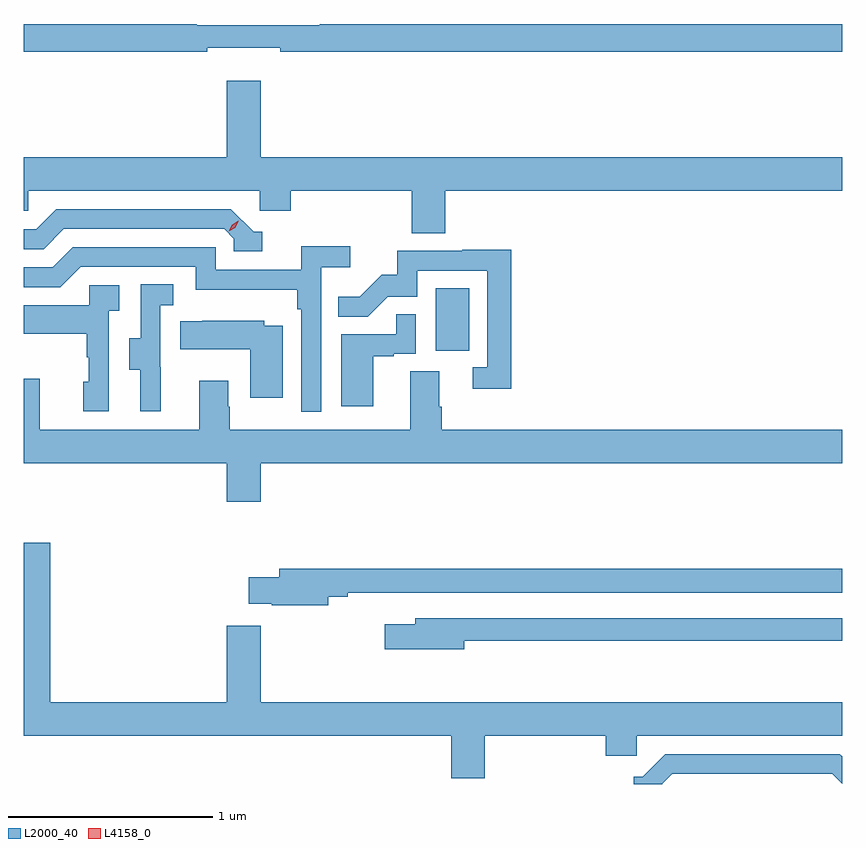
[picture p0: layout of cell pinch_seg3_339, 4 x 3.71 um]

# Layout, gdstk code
import gdstk
lib = gdstk.Library(unit=1e-6, precision=1e-09)
def R(c, l, rs):  # rectangles x0, y0, x1, y1
    for r in rs: c.add(gdstk.rectangle(r[:2], r[2:], *l))
def P(c, l, *ps):  # polygons
    for p in ps: c.add(gdstk.Polygon(p, *l))
L2000_40 = (2000, 40)
L4158_0 = (4158, 0)

pinch_seg3_339 = lib.new_cell('pinch_seg3_339')
R(pinch_seg3_339, L2000_40, [(957.236,718.782,957.4,719.089)])
P(pinch_seg3_339, L2000_40, [(956.12,720.263),(956.476,720.263),(956.476,720.244),(959.223,720.244),(959.223,720.38),(956.669,720.38),(956.669,720.373),(956.069,720.373),(956.069,720.38),(955.223,720.38),(955.223,720.244),(956.12,720.244)],
  [(957.284,719.564),(959.223,719.564),(959.223,719.728),(956.38,719.728),(956.38,720.103),(956.216,720.103),(956.216,719.728),(955.223,719.728),(955.223,719.466),(955.245,719.466),(955.245,719.564),(956.376,719.564),(956.376,719.466),(956.528,719.466),(956.528,719.564),(957.119,719.564),(957.119,719.356),(957.284,719.356)],
  [(956.389,719.364),(956.346,719.364),(956.235,719.475),(955.382,719.475),(955.283,719.376),(955.223,719.376),(955.223,719.28),(955.32,719.28),(955.419,719.379),(956.202,719.379),(956.25,719.331),(956.25,719.268),(956.389,719.268)],
  [(956.676,719.192),(956.818,719.192),(956.818,719.294),(956.579,719.294),(956.579,719.178),(956.16,719.178),(956.16,719.289),(955.463,719.289),(955.364,719.19),(955.223,719.19),(955.223,719.094),(955.401,719.094),(955.5,719.193),(956.064,719.193),(956.064,719.081),(956.56,719.081),(956.56,718.985),(956.58,718.985),(956.58,718.485),(956.676,718.485)],
  [(957.605,719.276),(957.367,719.276),(957.367,719.271),(957.049,719.271),(957.049,719.154),(956.972,719.154),(956.865,719.047),(956.761,719.047),(956.761,718.948),(956.905,718.948),(957.003,719.046),(957.147,719.046),(957.147,719.175),(957.489,719.175),(957.489,718.701),(957.417,718.701),(957.417,718.596),(957.605,718.596)],
  [(955.892,718.701),(955.89,718.701),(955.89,719.005),(955.954,719.005),(955.954,719.108),(955.794,719.108),(955.794,718.845),(955.739,718.845),(955.739,718.69),(955.793,718.69),(955.793,718.488),(955.892,718.488)],
  [(955.638,718.979),(955.69,718.979),(955.69,719.103),(955.542,719.103),(955.542,719.005),(955.223,719.005),(955.223,718.865),(955.53,718.865),(955.53,718.751),(955.54,718.751),(955.54,718.632),(955.514,718.632),(955.514,718.488),(955.638,718.488)],
  [(956.932,718.755),(957.032,718.755),(957.032,718.767),(957.138,718.767),(957.138,718.961),(957.043,718.961),(957.043,718.863),(956.774,718.863),(956.774,718.512),(956.932,718.512)],
  [(956.488,718.906),(956.397,718.906),(956.397,718.93),(956.095,718.93),(956.095,718.927),(955.987,718.927),(955.987,718.79),(956.33,718.79),(956.33,718.554),(956.488,718.554)],
  [(956.38,718.232),(959.223,718.232),(959.223,718.396),(957.266,718.396),(957.266,718.508),(957.253,718.508),(957.253,718.682),(957.113,718.682),(957.113,718.396),(956.229,718.396),(956.229,718.508),(956.221,718.508),(956.221,718.636),(956.081,718.636),(956.081,718.396),(955.301,718.396),(955.301,718.645),(955.223,718.645),(955.223,718.232),(956.216,718.232),(956.216,718.044),(956.38,718.044)],
  [(957.476,716.9),(958.067,716.9),(958.067,716.802),(958.218,716.802),(958.218,716.9),(959.223,716.9),(959.223,717.064),(956.38,717.064),(956.38,717.439),(956.216,717.439),(956.216,717.064),(955.352,717.064),(955.352,717.844),(955.223,717.844),(955.223,716.9),(957.311,716.9),(957.311,716.692),(957.476,716.692)],
  [(956.71,717.58),(956.806,717.58),(956.806,717.599),(957,717.599),(957,717.6),(959.223,717.6),(959.223,717.716),(956.471,717.716),(956.471,717.675),(956.322,717.675),(956.322,717.545),(956.434,717.545),(956.434,717.538),(956.71,717.538)],
  [(957.376,717.366),(959.223,717.366),(959.223,717.474),(957.137,717.474),(957.137,717.445),(956.988,717.445),(956.988,717.323),(957.376,717.323)],
  [(958.344,716.667),(958.392,716.715),(959.175,716.715),(959.223,716.667),(959.223,716.8),(959.212,716.811),(958.359,716.811),(958.248,716.7),(958.205,716.7),(958.205,716.665),(958.344,716.665)])
P(pinch_seg3_339, L4158_0, [(956.225,719.367),(956.225,719.367),(956.241,719.399),(956.272,719.418),(956.272,719.418),(956.272,719.417),(956.256,719.385),(956.225,719.367)])

lib.write_gds('pinch_seg3_339.gds')
